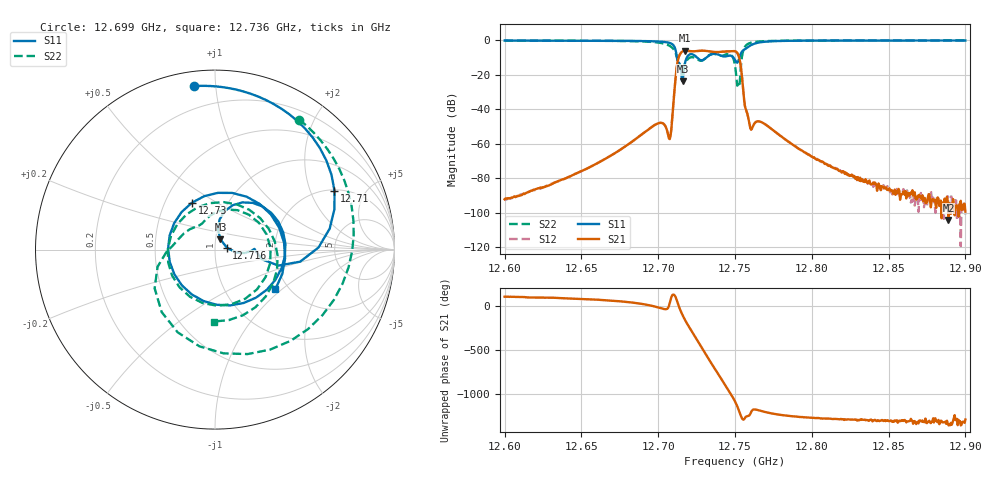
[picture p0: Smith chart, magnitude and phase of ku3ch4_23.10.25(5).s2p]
#  HZ  S  RI  R  50.00
! Rohde & Schwarz ZVA50 2Ports - Version 3.70 - 1145.1110k50 SN: 100192
! Date: 2025-10-23 16:24:25
! Measurements: S11 S21 S12 S22
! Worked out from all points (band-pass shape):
!   601 points, 12.6 GHz to 12.9 GHz, reference 50 ohm
!   highest |S21| = -6.09 dB at 12.717 GHz (marker M1); lowest = -104.2 dB at 12.889 GHz (marker M2)
!   |S21| within 3 dB of the highest: 12.71368 GHz to 12.75235 GHz (38.67 MHz wide, 0.304 % of centre)
!   lowest |S11| = -23.8 dB at 12.716 GHz (marker M3), VSWR 1.14, Z = 52.8 + j6.03 ohm
!   |S11| at or under -10 dB: 12.71223 GHz to 12.71871 GHz (6.477 MHz wide, 0.0509 % of centre); 12.7252 GHz to 12.73149 GHz (6.288 MHz wide, 0.0494 % of centre); 12.74887 GHz to 12.7529 GHz (4.03 MHz wide, 0.0316 % of centre)
!   |S22| runs from -26.4 to -0.2 dB; largest |S21 - S12| = 0.00024
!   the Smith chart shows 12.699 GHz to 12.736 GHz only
!   S11 on the Smith chart (normalised r, x): 12.699 GHz: 0.07, +0.87; 12.71 GHz: 2.05, +2.99; 12.716 GHz: 1.14, +0.03; 12.73 GHz: 0.68, +0.39; 12.736 GHz: 1.72, -0.90
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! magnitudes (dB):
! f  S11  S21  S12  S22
! 12.6 GHz  -0.2  -92.3  -92.5  -0.2
! 12.65 GHz  -0.3  -75.9  -76.1  -0.3
! 12.699 GHz  -0.7  -48.6  -48.6  -1.3
! 12.7 GHz  -0.8  -48.2  -48.2  -1.4
! 12.707 GHz  -1.5  -56.9  -56.9  -3.1
! 12.71 GHz  -2.6  -41.2  -41.2  -4.7
! 12.713 GHz  -11.4  -13.1  -13.1  -11.3
! 12.716 GHz  -23.5  -6.7  -6.7  -15.9
! 12.716 GHz  -23.8  -6.4  -6.4  -15.8
! 12.717 GHz  -13.1  -6.1  -6.1  -13.5
! 12.73 GHz  -10.7  -6.2  -6.2  -10.7
! 12.736 GHz  -7.9  -6.8  -6.8  -7.9
! 12.747 GHz  -9.0  -6.4  -6.4  -8.2
! 12.75 GHz  -11.5  -6.4  -6.4  -14.6
! 12.752 GHz  -11.1  -9.5  -9.5  -24.2
! 12.756 GHz  -5.5  -35.1  -35.1  -4.6
! 12.761 GHz  -2.8  -51.9  -51.9  -1.4
! 12.768 GHz  -1.0  -47.9  -47.9  -0.6
! 12.8 GHz  -0.3  -67.4  -67.4  -0.2
! 12.85 GHz  -0.2  -86.9  -86.4  -0.2
! 12.889 GHz  -0.2  -104.2  -96.0  -0.2
! 12.9 GHz  -0.2  -99.5  -101.1  -0.2
